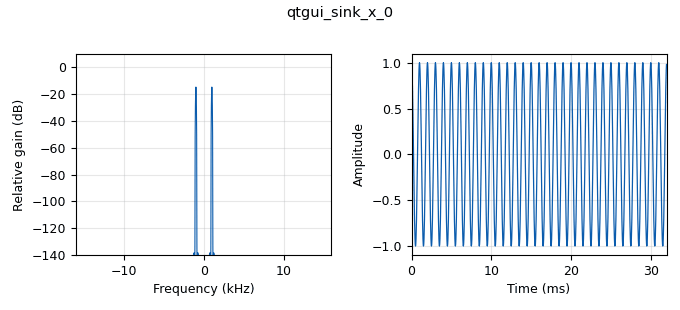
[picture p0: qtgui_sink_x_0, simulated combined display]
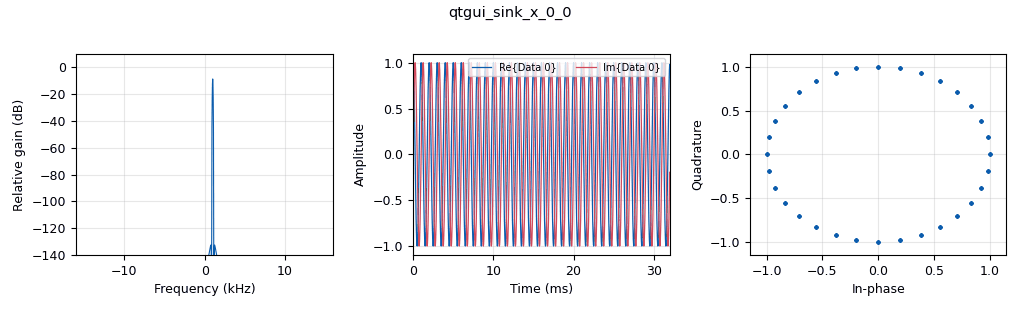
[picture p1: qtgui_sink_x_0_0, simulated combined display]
options:
  parameters:
    generate_options: qt_gui
    id: const_mult
    output_language: python
    title: Not titled yet
  states: {}

blocks:
- name: F
  id: variable_qtgui_range
  parameters:
    label: '"Signal frequency, Hz"'
    orient: Qt.Horizontal
    start: '1'
    step: '1'
    stop: samp_rate/2
    value: 1e3
  states: {}
- name: const
  id: variable_qtgui_range
  parameters:
    orient: Qt.Horizontal
    start: '0'
    step: '0.001'
    stop: '10'
    value: '1'
  states: {}
- name: samp_rate
  id: variable
  parameters:
    value: '32000'
  states: {}
- name: analog_sig_source_x_0
  id: analog_sig_source_x
  parameters:
    amp: '1'
    freq: F
    offset: '0'
    phase: '0'
    samp_rate: samp_rate
    type: float
    waveform: analog.GR_COS_WAVE
  states: {}
- name: analog_sig_source_x_0_0
  id: analog_sig_source_x
  parameters:
    amp: '1'
    freq: F
    offset: '0'
    phase: '0'
    samp_rate: samp_rate
    type: complex
    waveform: analog.GR_COS_WAVE
  states: {}
- name: epy_block_0
  id: epy_block
  parameters:
    _source_code: |
      """
      Embedded Python Blocks:

      Each time this file is saved, GRC will instantiate the first class it finds
      to get ports and parameters of your block. The arguments to __init__  will
      be the parameters. All of them are required to have default values!
      """

      import numpy as np
      from gnuradio import gr


      class blk(gr.sync_block):  # other base classes are basic_block, decim_block, interp_block
          """Embedded Python Block example - a simple multiply const"""

          def __init__(self, const_mult=1.0):  # only default arguments here
              """arguments to this function show up as parameters in GRC"""
              gr.sync_block.__init__(
                  self,
                  name='Const Mult Custom Block Float',   # will show up in GRC
                  in_sig=[np.float32],
                  out_sig=[np.float32]
              )
              # if an attribute with the same name as a parameter is found,
              # a callback is registered (properties work, too).
              self.const_mult = const_mult

          def work(self, input_items, output_items):
              """example: multiply with constant"""
              #print("length of input vector =" + str(len(input_items[0])))
              #print("length of output vector ="+ str(len(output_items[0])))
              output_items[0][:] = input_items[0][:] * self.const_mult
              return len(output_items[0])
    const_mult: const
  states: {}
- name: epy_block_1
  id: epy_block
  parameters:
    _source_code: |
      """
      Embedded Python Blocks:

      Each time this file is saved, GRC will instantiate the first class it finds
      to get ports and parameters of your block. The arguments to __init__  will
      be the parameters. All of them are required to have default values!
      """

      import numpy as np
      from gnuradio import gr


      class blk(gr.sync_block):  # other base classes are basic_block, decim_block, interp_block
          """Embedded Python Block example - a simple multiply const"""

          def __init__(self, const_mult=1.0):  # only default arguments here
              """arguments to this function show up as parameters in GRC"""
              gr.sync_block.__init__(
                  self,
                  name='Const Mult Custom Block Complex',   # will show up in GRC
                  in_sig=[np.complex64],
                  out_sig=[np.complex64]
              )
              # if an attribute with the same name as a parameter is found,
              # a callback is registered (properties work, too).
              self.const_mult = const_mult

          def work(self, input_items, output_items):
              """example: multiply with constant"""
              output_items[0][:] = input_items[0][:] * self.const_mult
              return len(output_items[0])
    const_mult: const
  states: {}
- name: qtgui_sink_x_0
  id: qtgui_sink_x
  parameters:
    bw: samp_rate
    fc: '0'
    fftsize: '1024'
    type: float
    wintype: firdes.WIN_BLACKMAN_hARRIS
  states: {}
- name: qtgui_sink_x_0_0
  id: qtgui_sink_x
  parameters:
    bw: samp_rate
    fc: '0'
    fftsize: '1024'
    type: complex
    wintype: firdes.WIN_BLACKMAN_hARRIS
  states: {}

connections:
- [analog_sig_source_x_0, '0', epy_block_0, '0']
- [analog_sig_source_x_0_0, '0', epy_block_1, '0']
- [epy_block_0, '0', qtgui_sink_x_0, '0']
- [epy_block_1, '0', qtgui_sink_x_0_0, '0']

metadata:
  file_format: 1
